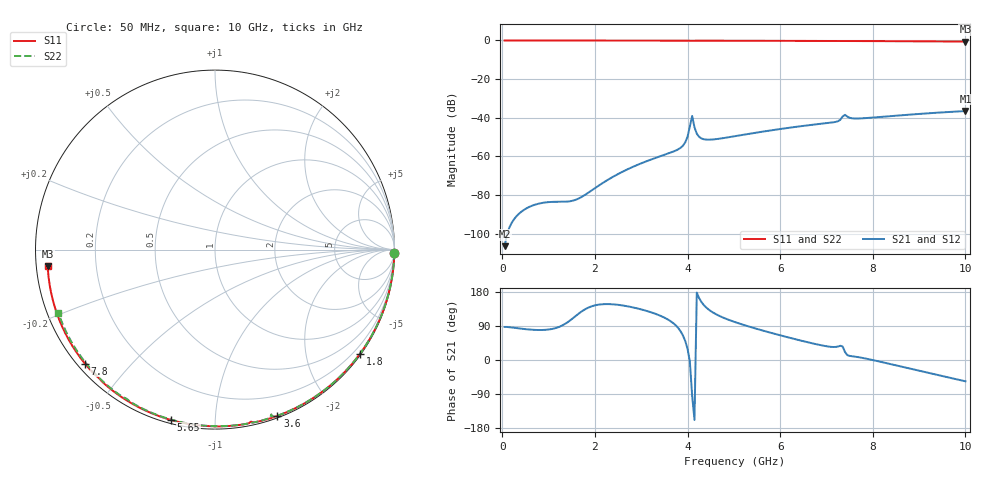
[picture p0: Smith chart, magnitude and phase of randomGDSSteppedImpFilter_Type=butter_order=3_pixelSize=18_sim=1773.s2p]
! freq	dB(S11)	phase(S11)	dB(S12)	phase(S12)
!  dB(S21)	phase(S21)	dB(S22)	phase(S22)
!S-par simulation data
#  GHz  S  DB  R 50
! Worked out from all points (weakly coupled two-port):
!   200 points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, 50 MHz to 10 GHz, reference 50 ohm
!   highest |S21| = -36.51 dB at 10 GHz (marker M1); lowest = -106.4 dB at 50 MHz (marker M2)
!   lowest |S11| = -0.6 dB at 10 GHz (marker M3), VSWR 30.44, Z = 1.65 - j2.43 ohm
!   |S11| at or under -10 dB: nowhere
!   |S22| runs from -0.5 to 0.0 dB; largest |S21 - S12| = 0
!   S11 on the Smith chart (normalised r, x): 50 MHz: open; 1.8 GHz: 0.03, -3.10; 3.6 GHz: 0.02, -1.44; 5.65 GHz: 0.02, -0.77; 7.8 GHz: 0.02, -0.38; 10 GHz: 0.03, -0.05
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0.05  -0.00 -1.0  -106.37 87.2  -106.37 87.2  -0.01 -0.9
1.75  -0.04 -34.8  -80.40 131.0  -80.40 131.0  -0.04 -31.7
1.8  -0.05 -35.8  -79.64 134.7  -79.64 134.7  -0.04 -32.5
2.55  -0.06 -50.1  -68.44 144.8  -68.44 144.8  -0.06 -45.6
3.4  -0.09 -65.8  -59.97 117.4  -59.97 117.4  -0.08 -60.0
3.6  -0.09 -69.4  -58.30 105.2  -58.30 105.2  -0.09 -63.3
3.85  -0.10 -73.9  -55.50 75.8  -55.50 75.8  -0.09 -67.5
3.95  -0.11 -75.7  -52.74 50.3  -52.74 50.3  -0.10 -69.2
4  -0.11 -76.7  -49.81 29.8  -49.81 29.8  -0.11 -70.1
4.1  -0.18 -78.2  -39.06 -94.5  -39.06 -94.5  -0.26 -71.1
4.15  -0.13 -79.0  -44.88 -158.1  -44.88 -158.1  -0.14 -71.8
4.2  -0.12 -79.9  -48.21 177.9  -48.21 177.9  -0.11 -72.7
4.3  -0.12 -81.7  -50.66 153.1  -50.66 153.1  -0.11 -74.5
5.05  -0.15 -94.5  -49.40 99.0  -49.40 99.0  -0.13 -86.3
5.65  -0.17 -104.5  -47.04 76.8  -47.04 76.8  -0.16 -95.5
6.7  -0.24 -121.4  -43.58 43.8  -43.58 43.8  -0.22 -111.0
7.25  -0.28 -130.2  -41.76 35.6  -41.76 35.6  -0.26 -119.0
7.4  -0.31 -132.4  -38.46 21.2  -38.46 21.2  -0.30 -120.9
7.55  -0.30 -134.8  -40.25 10.0  -40.25 10.0  -0.28 -123.1
7.8  -0.32 -138.8  -40.22 5.0  -40.22 5.0  -0.30 -126.7
8.35  -0.37 -147.5  -39.19 -9.8  -39.19 -9.8  -0.34 -134.5
10  -0.57 -174.4  -36.51 -56.2  -36.51 -56.2  -0.53 -158.1
